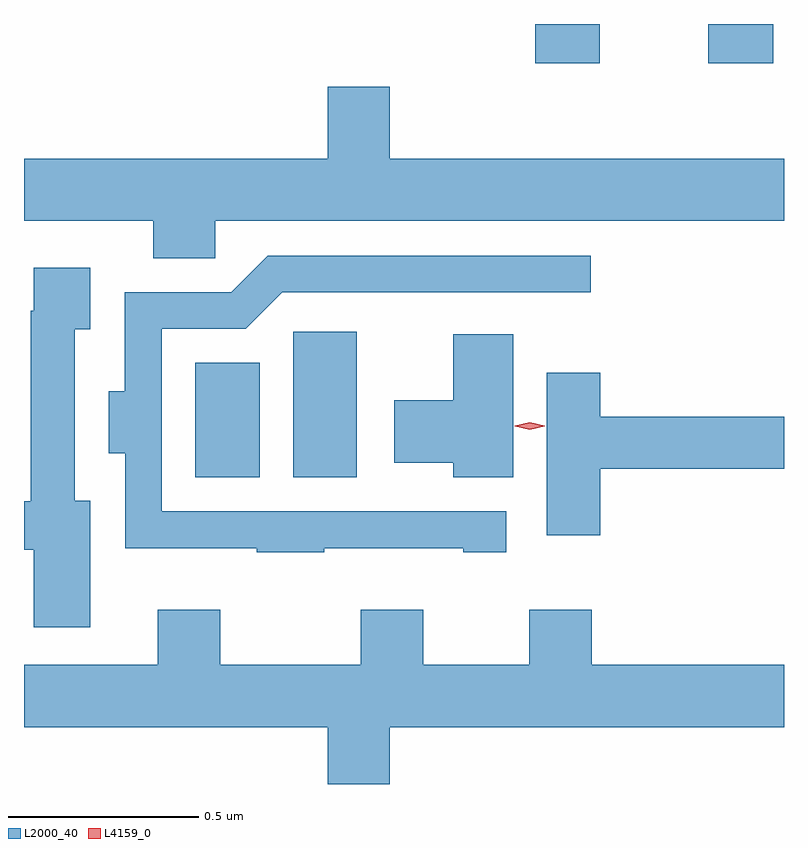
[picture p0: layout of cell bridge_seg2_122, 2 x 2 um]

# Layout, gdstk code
import gdstk
lib = gdstk.Library(unit=1e-6, precision=1e-09)
def R(c, l, rs):  # rectangles x0, y0, x1, y1
    for r in rs: c.add(gdstk.rectangle(r[:2], r[2:], *l))
def P(c, l, *ps):  # polygons
    for p in ps: c.add(gdstk.Polygon(p, *l))
L2000_40 = (2000, 40)
L4159_0 = (4159, 0)

bridge_seg2_122 = lib.new_cell('bridge_seg2_122')
R(bridge_seg2_122, L2000_40, [(464.36,648.293,464.53,648.595), (464.618,648.293,464.785,648.676), (465.254,649.383,465.424,649.486), (465.71,649.383,465.881,649.486)])
P(bridge_seg2_122, L2000_40, [(464.412,648.968),(465.909,648.968),(465.909,649.132),(464.872,649.132),(464.872,649.321),(464.708,649.321),(464.708,649.132),(463.909,649.132),(463.909,648.968),(464.249,648.968),(464.249,648.87),(464.412,648.87)],
  [(464.699,648.107),(465.065,648.107),(465.065,648.096),(465.178,648.096),(465.178,648.204),(464.271,648.204),(464.271,648.684),(464.493,648.684),(464.589,648.78),(465.4,648.78),(465.4,648.876),(464.55,648.876),(464.454,648.78),(464.174,648.78),(464.174,648.52),(464.132,648.52),(464.132,648.356),(464.175,648.356),(464.175,648.107),(464.521,648.107),(464.521,648.096),(464.699,648.096)],
  [(464.083,648.232),(464.043,648.232),(464.043,648.683),(464.083,648.683),(464.083,648.844),(463.935,648.844),(463.935,648.731),(463.927,648.731),(463.927,648.23),(463.909,648.23),(463.909,648.102),(463.934,648.102),(463.934,647.898),(464.083,647.898)],
  [(465.196,648.67),(465.038,648.67),(465.038,648.496),(464.883,648.496),(464.883,648.332),(465.038,648.332),(465.038,648.293),(465.196,648.293)],
  [(465.425,648.316),(465.909,648.316),(465.909,648.452),(465.425,648.452),(465.425,648.568),(465.284,648.568),(465.284,648.141),(465.425,648.141)],
  [(464.872,647.636),(465.909,647.636),(465.909,647.8),(465.403,647.8),(465.403,647.944),(465.239,647.944),(465.239,647.8),(464.959,647.8),(464.959,647.944),(464.795,647.944),(464.795,647.8),(464.425,647.8),(464.425,647.944),(464.261,647.944),(464.261,647.8),(463.909,647.8),(463.909,647.636),(464.708,647.636),(464.708,647.486),(464.872,647.486)])
P(bridge_seg2_122, L4159_0, [(465.24,648.418),(465.201,648.428),(465.2,648.429),(465.201,648.429),(465.24,648.438),(465.28,648.429),(465.28,648.428),(465.28,648.428)])

lib.write_gds('bridge_seg2_122.gds')
